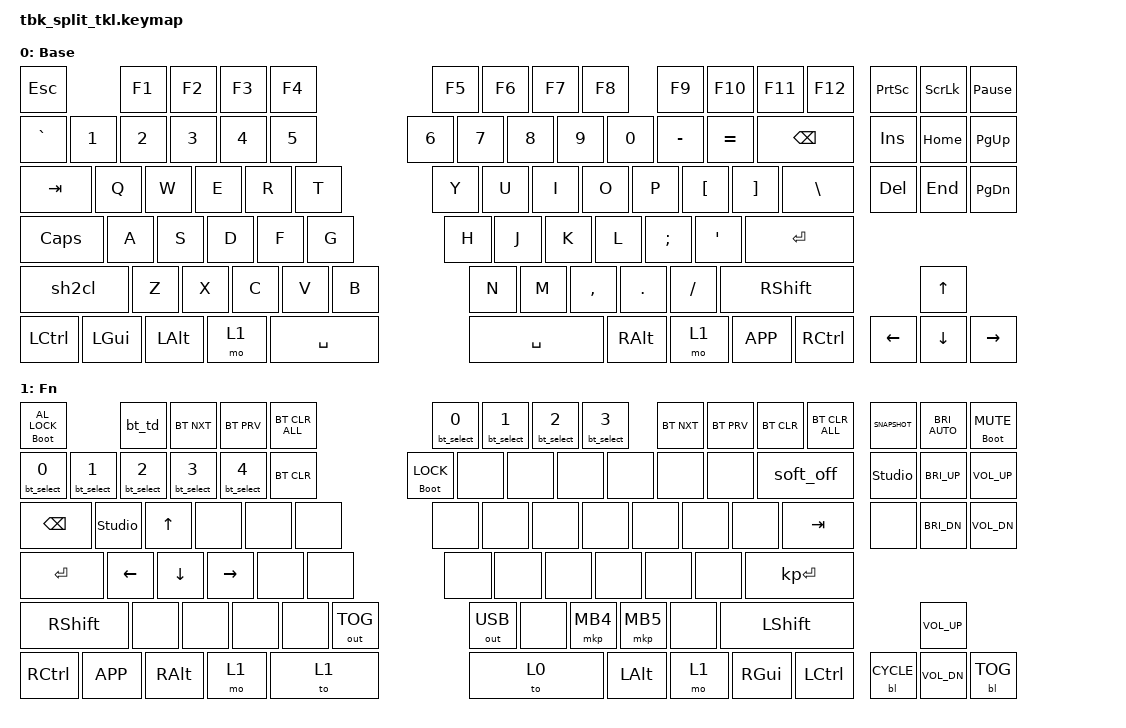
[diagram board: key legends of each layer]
/*
 * Copyright (c) 2021 The ZMK Contributors
 *
 * SPDX-License-Identifier: MIT
 */

#include <behaviors.dtsi>
#include <dt-bindings/zmk/backlight.h>
#include <dt-bindings/zmk/bt.h>
#include <dt-bindings/zmk/keys.h>
#include <dt-bindings/zmk/mouse.h>
#include <dt-bindings/zmk/outputs.h>

&soft_off { hold-time-ms = <1000>; };

&kscan0 {
    debounce-press-ms = <1>;
    debounce-release-ms = <10>;
};

/ {
    behaviors {
        sh2cl: sh2cl {
            compatible = "zmk,behavior-tap-dance";
            #binding-cells = <0>;
            tapping-term-ms = <220>;
            bindings = <&kp LEFT_SHIFT>, <&kp CAPS>;
        };

        hold2boot: hold2boot {
            compatible = "zmk,behavior-hold-tap";
            bindings = <&bootloader>, <&kp>;

            #binding-cells = <2>;
            flavor = "tap-preferred";
            tapping-term-ms = <1000>;
        };

        http: http {
            compatible = "zmk,behavior-hold-tap";
            bindings = <&kp>, <&kp>;

            #binding-cells = <2>;
            tapping-term-ms = <220>;
            flavor = "tap-preferred";
        };

        bt_td: bt_td {
            compatible = "zmk,behavior-tap-dance";
            #binding-cells = <0>;
            bindings =
                <&bt BT_SEL 0>,
                <&bt BT_SEL 1>,
                <&bt BT_SEL 2>,
                <&bt BT_SEL 3>,
                <&bt BT_SEL 4>;

            tapping-term-ms = <220>;
        };

        // bluetooth 1 param macro

        bt_select: bt_select {
            compatible = "zmk,behavior-macro-one-param";
            #binding-cells = <1>;
            bindings = <&out OUT_BLE &macro_param_1to2 &bt BT_SEL MACRO_PLACEHOLDER>;
        };
    };

    macros {
    };

    keymap {
        compatible = "zmk,keymap";

        // -------------------------------------          -----------------------------------------------------
        // | ESC |     |  F1 |  F2 |  F3 |  F4 |          |  F5 |  F6 |  F7 |  F8 |   |  F9 | F10 | F11 | F12 |
        // |  `  |  1  |  2  |  3  |  4  |  5  |        |  6  |  7  |  8  |  9  |  0  |  -  |  =  |  BSPC     |
        // | TAB   |  Q  |  W  |  E  |  R  |  T  |        |  Y  |  U  |  I  |  O  |  P  |  [  |  ]  |   \     |
        // | CAPS   |  A  |  S  |  D  |  F  |  G  |        |  H  |  J  |  K  |  L  |  ;  |  '  |    ENTER     |
        // | SHIFT    |  Z  |  X  |  C  |  V  |  B  |        |  N  |  M  |  ,  |  .  |  /  |        RSHFT     |
        // |LCTRL| LGUI| LALT| FN1 |     SPACE      |        |   SPACE        | RALT | RGUI | MENU | RCTRL |
        // -------------------------------------------       -----------------------------------------------

        default_layer {
            display-name = "Base";
            bindings = <
&kp ESC              &kp F1    &kp F2  &kp F3     &kp F4    &kp F5     &kp F6  &kp F7     &kp F8               &kp F9     &kp F10    &kp F11     &kp F12          &kp PSCRN  &kp SLCK  &kp PAUSE_BREAK
&kp GRAVE  &kp N1    &kp N2    &kp N3  &kp N4     &kp N5    &kp N6     &kp N7  &kp N8     &kp N9    &kp N0     &kp MINUS  &kp EQUAL              &kp BACKSPACE    &kp INS    &kp HOME  &kp PG_UP
&kp TAB    &kp Q     &kp W     &kp E   &kp R      &kp T     &kp Y      &kp U   &kp I      &kp O     &kp P      &kp LBKT   &kp RBKT               &kp BACKSLASH    &kp DEL    &kp END   &kp PG_DN
&kp CAPS   &kp A     &kp S     &kp D   &kp F      &kp G     &kp H      &kp J   &kp K      &kp L     &kp SEMI   &kp APOS                          &kp ENTER
&sh2cl     &kp Z     &kp X     &kp C   &kp V      &kp B     &kp N      &kp M   &kp COMMA  &kp DOT   &kp SLASH                        &kp RSHIFT                              &kp UP
&kp LCTRL  &kp LGUI  &kp LALT  &mo 1   &kp SPACE            &kp SPACE                     &kp RALT  &mo 1                            &kp K_APP   &kp RCTRL        &kp LEFT   &kp DOWN  &kp RIGHT
            >;
        };

        swap_layer {
            display-name = "Fn";
            bindings = <
&hold2boot 0 C_AL_LOCK                 &bt_td       &bt BT_NXT    &bt BT_PRV    &bt BT_CLR_ALL    &bt_select 0         &bt_select 1  &bt_select 2  &bt_select 3         &bt BT_NXT  &bt BT_PRV  &bt BT_CLR  &bt BT_CLR_ALL    &kp C_SNAPSHOT  &kp C_BRI_AUTO  &hold2boot 0 C_MUTE
&bt_select 0            &bt_select 1   &bt_select 2 &bt_select 3  &bt_select 4  &bt BT_CLR        &hold2boot 0 K_LOCK  &none         &none         &none         &none  &none       &none                   &soft_off         &studio_unlock  &kp C_BRI_UP    &kp C_VOL_UP
&kp BSPC                &studio_unlock &kp UP       &none         &none         &none             &none                &none         &none         &none         &none  &none       &none                   &kp TAB           &none           &kp C_BRI_DN    &kp C_VOL_DN
&kp ENTER               &kp LEFT       &kp DOWN     &kp RIGHT     &none         &none             &none                &none         &none         &none         &none  &none                               &kp KP_ENTER
&kp RSHFT               &none          &none        &none         &none         &out OUT_TOG      &out OUT_USB         &none         &mkp MB4      &mkp MB5      &none                          &kp LSHIFT                                    &kp K_VOL_UP
&kp RCTRL               &kp K_APP      &kp RALT     &mo 1         &to 1                           &to 0                                            &kp LALT      &mo 1                          &kp RGUI    &kp LCTRL         &bl BL_CYCLE    &kp K_VOL_DN    &bl BL_TOG
            >;
        };
    };
};
